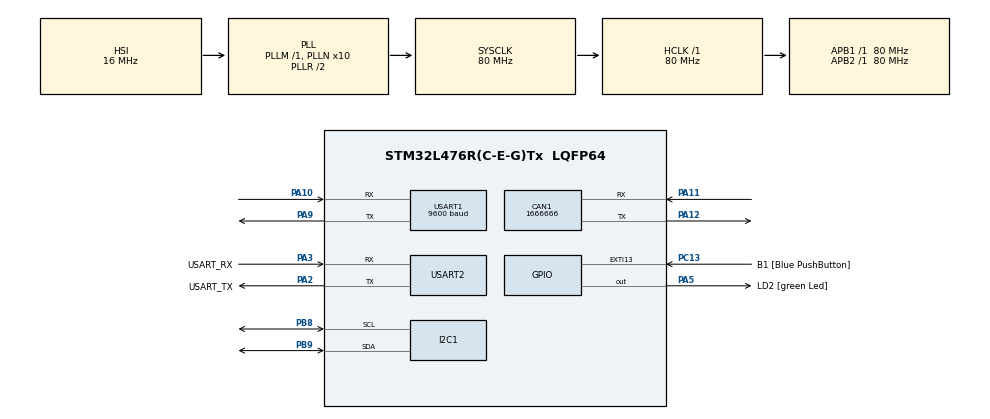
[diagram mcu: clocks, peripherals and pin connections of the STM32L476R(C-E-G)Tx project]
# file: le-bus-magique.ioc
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CAN1.BS1=CAN_BS1_1TQ
CAN1.BS2=CAN_BS2_1TQ
CAN1.CalculateBaudRate=1666666
CAN1.CalculateTimeBit=600.00
CAN1.CalculateTimeQuantum=200.0
I2C1.Timing=0x10909CEC
Mcu.Family=STM32L4
Mcu.Name=STM32L476R(C-E-G)Tx
Mcu.Package=LQFP64
NVIC.PriorityGroup=NVIC_PRIORITYGROUP_4
PA10.Mode=Asynchronous
PA10.Signal=USART1_RX
PA11.Mode=CAN_Activate
PA11.Signal=CAN1_RX
PA12.Mode=CAN_Activate
PA12.Signal=CAN1_TX
PA13\ (JTMS-SWDIO).GPIO_Label=TMS
PA13\ (JTMS-SWDIO).Mode=Serial_Wire
PA13\ (JTMS-SWDIO).Signal=SYS_JTMS-SWDIO
PA14\ (JTCK-SWCLK).GPIO_Label=TCK
PA14\ (JTCK-SWCLK).Mode=Serial_Wire
PA14\ (JTCK-SWCLK).Signal=SYS_JTCK-SWCLK
PA2.GPIO_Label=USART_TX
PA2.GPIO_Mode=GPIO_MODE_AF_PP
PA2.GPIO_PuPd=GPIO_NOPULL
PA2.GPIO_Speed=GPIO_SPEED_FREQ_VERY_HIGH
PA2.Mode=Asynchronous
PA2.Signal=USART2_TX
PA3.GPIO_Label=USART_RX
PA3.GPIO_Mode=GPIO_MODE_AF_PP
PA3.GPIO_PuPd=GPIO_NOPULL
PA3.GPIO_Speed=GPIO_SPEED_FREQ_VERY_HIGH
PA3.Mode=Asynchronous
PA3.Signal=USART2_RX
PA5.GPIO_Label=LD2 [green Led]
PA5.GPIO_ModeDefaultOutputPP=GPIO_MODE_OUTPUT_PP
PA5.GPIO_PuPd=GPIO_NOPULL
PA5.GPIO_Speed=GPIO_SPEED_FREQ_LOW
PA5.Signal=GPIO_Output
PA9.Mode=Asynchronous
PA9.Signal=USART1_TX
PB3\ (JTDO-TRACESWO).GPIO_Label=SWO
PB3\ (JTDO-TRACESWO).Signal=SYS_JTDO-SWO
PB8.Mode=I2C
PB8.Signal=I2C1_SCL
PB9.Mode=I2C
PB9.Signal=I2C1_SDA
PC13.GPIO_Label=B1 [Blue PushButton]
PC13.GPIO_ModeDefaultEXTI=GPIO_MODE_IT_FALLING
PC13.GPIO_PuPd=GPIO_NOPULL
PC13.Signal=GPXTI13
PC14-OSC32_IN\ (PC14).Mode=LSE-External-Oscillator
PC14-OSC32_IN\ (PC14).Signal=RCC_OSC32_IN
PC15-OSC32_OUT\ (PC15).Mode=LSE-External-Oscillator
PC15-OSC32_OUT\ (PC15).Signal=RCC_OSC32_OUT
PC4.Signal=USART3_TX
PH0-OSC_IN\ (PH0).Signal=RCC_OSC_IN
PH1-OSC_OUT\ (PH1).Signal=RCC_OSC_OUT
ProjectManager.HeapSize=0x200
ProjectManager.StackSize=0x400
ProjectManager.TargetToolchain=STM32CubeIDE
RCC.ADCFreq_Value=64000000
RCC.AHBFreq_Value=80000000
RCC.APB1Freq_Value=80000000
RCC.APB1TimFreq_Value=80000000
RCC.APB2Freq_Value=80000000
RCC.APB2TimFreq_Value=80000000
RCC.CortexFreq_Value=80000000
RCC.HCLKFreq_Value=80000000
RCC.HSE_VALUE=8000000
RCC.HSI_VALUE=16000000
RCC.MSI_VALUE=4000000
RCC.PLLN=10
RCC.PLLSourceVirtual=RCC_PLLSOURCE_HSI
RCC.PREFETCH_ENABLE=1
RCC.SYSCLKFreq_VALUE=80000000
RCC.SYSCLKSource=RCC_SYSCLKSOURCE_PLLCLK
RCC.USBFreq_Value=64000000
RCC.VCOOutputFreq_Value=160000000
USART1.BaudRate=9600
USART1.VirtualMode-Asynchronous=VM_ASYNC
USART2.VirtualMode-Asynchronous=VM_ASYNC
board=NUCLEO-L476RG

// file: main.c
/* USER CODE BEGIN Header */
/**
  ******************************************************************************
  * @file           : main.c
  * @brief          : Main program body
  ******************************************************************************
  * @attention
  *
  * <h2><center>&copy; Copyright (c) 2021 STMicroelectronics.
  * All rights reserved.</center></h2>
  *
  * This software component is licensed by ST under BSD 3-Clause license,
  * the "License"; You may not use this file except in compliance with the
  * License. You may obtain a copy of the License at:
  *                        opensource.org/licenses/BSD-3-Clause
  *
  ******************************************************************************
  */
/* USER CODE END Header */
#include "main.h"

CAN_HandleTypeDef hcan1;

I2C_HandleTypeDef hi2c1;

UART_HandleTypeDef huart1;
UART_HandleTypeDef huart2;

/* USER CODE BEGIN PV */
bmp280_trimming_TypeDef trim_struct; /* Initialise plus bas dans le code pas de de souci !*/

/* USER CODE END PV */

void SystemClock_Config(void);
static void MX_GPIO_Init(void);
static void MX_USART2_UART_Init(void);
static void MX_CAN1_Init(void);
static void MX_I2C1_Init(void);
static void MX_USART1_UART_Init(void);

int main(void)
{

  /* MCU Configuration--------------------------------------------------------*/

  /* Reset of all peripherals, Initializes the Flash interface and the Systick. */
  HAL_Init();

  /* Configure the system clock */
  SystemClock_Config();

  /* Initialize all configured peripherals */
  MX_GPIO_Init();
  MX_USART2_UART_Init();
  MX_CAN1_Init();
  MX_I2C1_Init();
  MX_USART1_UART_Init();
  /* USER CODE BEGIN 2 */
  printf("psst Axel\r\n");
  uint8_t i2c_buf[I2C_BUF_SIZE];

  /* USER CODE END 2 */

  /* Infinite loop */
  /* USER CODE BEGIN WHILE */
  i2c_buf[0] = BMP280_ID;
  HAL_I2C_Master_Transmit(&hi2c1, HAL_BMP280_ADDR << 1, i2c_buf, 1, HAL_MAX_DELAY);
  HAL_I2C_Master_Receive(&hi2c1, HAL_BMP280_ADDR << 1, i2c_buf, 1, HAL_MAX_DELAY);
  printf("ID du capteur de TEMPERATURE : 0x%x\r\n", (int) i2c_buf[0]);

  i2c_buf[0] = BMP280_CTRL_MEAS;
  i2c_buf[1] = 0x57;
  HAL_I2C_Master_Transmit(&hi2c1, HAL_BMP280_ADDR, i2c_buf, 2, HAL_MAX_DELAY);
  HAL_I2C_Master_Receive(&hi2c1, HAL_BMP280_ADDR, i2c_buf, 1, HAL_MAX_DELAY);

  printf("Valeur du registre ecrit : 0x%x\r\n", (int) i2c_buf[0]);
  HAL_I2C_Master_Transmit(
		  &hi2c1,
		  HAL_BMP280_ADDR,
		  BMP280_TRIM,
		  1,
		  HAL_MAX_DELAY);
  HAL_I2C_Master_Receive(&hi2c1, HAL_BMP280_ADDR, (uint8_t*) &trim_struct, sizeof(bmp280_trimming_TypeDef), HAL_MAX_DELAY);

  BMP280_S32_t bmp280_temp;
  uint8_t temp_tab[3];
  BMP280_S32_t bmp280_pres;
  uint8_t pres_tab[3];

  int32_t temperature=0;

  i2c_buf[0] = 0xF7;
  HAL_I2C_Master_Transmit(&hi2c1, HAL_BMP280_ADDR, i2c_buf, 1, HAL_MAX_DELAY);
  HAL_I2C_Master_Receive(&hi2c1, HAL_BMP280_ADDR, temp_tab, 3, HAL_MAX_DELAY);
  bmp280_temp = (BMP280_S32_t) (((int)temp_tab[0] << 12) + ((int)temp_tab[1] << 4) + ((int)temp_tab[2] >> 4));
  temperature = (int32_t) bmp280_compensate_T_int32(bmp280_temp);
  printf("valeur bmp280 temperature : %d\r\n", (int) temperature);

  uint8_t cmd_char = 0;
  uint8_t cmd[16] = {0};
  uint8_t cmd_cnt = 0;
  const char get_t[16]= "get-t";

  while (1)
  {
	cmd_cnt=0;
	do
	{
		HAL_UART_Receive(&huart1, &cmd_char, 1, HAL_MAX_DELAY);
		cmd[cmd_cnt] = cmd_char;
		++cmd_cnt;

	} while(cmd_char != 0xD);
	cmd[cmd_cnt-1] = '\0';

	if(0 == strcmp(cmd, get_t))
	{
		printf("Temperature : %d\r\n",temperature);
	}

    /* USER CODE END WHILE */

  }
}

void SystemClock_Config(void)
{
  RCC_OscInitTypeDef RCC_OscInitStruct = {0};
  RCC_ClkInitTypeDef RCC_ClkInitStruct = {0};

  /** Configure the main internal regulator output voltage
  */
  if (HAL_PWREx_ControlVoltageScaling(PWR_REGULATOR_VOLTAGE_SCALE1) != HAL_OK)
  {
    Error_Handler();
  }
  /** Initializes the RCC Oscillators according to the specified parameters
  * in the RCC_OscInitTypeDef structure.
  */
  RCC_OscInitStruct.OscillatorType = RCC_OSCILLATORTYPE_HSI;
  RCC_OscInitStruct.HSIState = RCC_HSI_ON;
  RCC_OscInitStruct.HSICalibrationValue = RCC_HSICALIBRATION_DEFAULT;
  RCC_OscInitStruct.PLL.PLLState = RCC_PLL_ON;
  RCC_OscInitStruct.PLL.PLLSource = RCC_PLLSOURCE_HSI;
  RCC_OscInitStruct.PLL.PLLM = 1;
  RCC_OscInitStruct.PLL.PLLN = 10;
  RCC_OscInitStruct.PLL.PLLP = RCC_PLLP_DIV7;
  RCC_OscInitStruct.PLL.PLLQ = RCC_PLLQ_DIV2;
  RCC_OscInitStruct.PLL.PLLR = RCC_PLLR_DIV2;
  if (HAL_RCC_OscConfig(&RCC_OscInitStruct) != HAL_OK)
  {
    Error_Handler();
  }
  /** Initializes the CPU, AHB and APB buses clocks
  */
  RCC_ClkInitStruct.ClockType = RCC_CLOCKTYPE_HCLK|RCC_CLOCKTYPE_SYSCLK
                              |RCC_CLOCKTYPE_PCLK1|RCC_CLOCKTYPE_PCLK2;
  RCC_ClkInitStruct.SYSCLKSource = RCC_SYSCLKSOURCE_PLLCLK;
  RCC_ClkInitStruct.AHBCLKDivider = RCC_SYSCLK_DIV1;
  RCC_ClkInitStruct.APB1CLKDivider = RCC_HCLK_DIV1;
  RCC_ClkInitStruct.APB2CLKDivider = RCC_HCLK_DIV1;

  if (HAL_RCC_ClockConfig(&RCC_ClkInitStruct, FLASH_LATENCY_4) != HAL_OK)
  {
    Error_Handler();
  }
}

static void MX_CAN1_Init(void)
{

  hcan1.Instance = CAN1;
  hcan1.Init.Prescaler = 16;
  hcan1.Init.Mode = CAN_MODE_NORMAL;
  hcan1.Init.SyncJumpWidth = CAN_SJW_1TQ;
  hcan1.Init.TimeSeg1 = CAN_BS1_1TQ;
  hcan1.Init.TimeSeg2 = CAN_BS2_1TQ;
  hcan1.Init.TimeTriggeredMode = DISABLE;
  hcan1.Init.AutoBusOff = DISABLE;
  hcan1.Init.AutoWakeUp = DISABLE;
  hcan1.Init.AutoRetransmission = DISABLE;
  hcan1.Init.ReceiveFifoLocked = DISABLE;
  hcan1.Init.TransmitFifoPriority = DISABLE;
  if (HAL_CAN_Init(&hcan1) != HAL_OK)
  {
    Error_Handler();
  }

}

static void MX_I2C1_Init(void)
{

  hi2c1.Instance = I2C1;
  hi2c1.Init.Timing = 0x10909CEC;
  hi2c1.Init.OwnAddress1 = 0;
  hi2c1.Init.AddressingMode = I2C_ADDRESSINGMODE_7BIT;
  hi2c1.Init.DualAddressMode = I2C_DUALADDRESS_DISABLE;
  hi2c1.Init.OwnAddress2 = 0;
  hi2c1.Init.OwnAddress2Masks = I2C_OA2_NOMASK;
  hi2c1.Init.GeneralCallMode = I2C_GENERALCALL_DISABLE;
  hi2c1.Init.NoStretchMode = I2C_NOSTRETCH_DISABLE;
  if (HAL_I2C_Init(&hi2c1) != HAL_OK)
  {
    Error_Handler();
  }
  /** Configure Analogue filter
  */
  if (HAL_I2CEx_ConfigAnalogFilter(&hi2c1, I2C_ANALOGFILTER_ENABLE) != HAL_OK)
  {
    Error_Handler();
  }
  /** Configure Digital filter
  */
  if (HAL_I2CEx_ConfigDigitalFilter(&hi2c1, 0) != HAL_OK)
  {
    Error_Handler();
  }

}

static void MX_USART1_UART_Init(void)
{

  huart1.Instance = USART1;
  huart1.Init.BaudRate = 9600;
  huart1.Init.WordLength = UART_WORDLENGTH_8B;
  huart1.Init.StopBits = UART_STOPBITS_1;
  huart1.Init.Parity = UART_PARITY_NONE;
  huart1.Init.Mode = UART_MODE_TX_RX;
  huart1.Init.HwFlowCtl = UART_HWCONTROL_NONE;
  huart1.Init.OverSampling = UART_OVERSAMPLING_16;
  huart1.Init.OneBitSampling = UART_ONE_BIT_SAMPLE_DISABLE;
  huart1.AdvancedInit.AdvFeatureInit = UART_ADVFEATURE_NO_INIT;
  if (HAL_UART_Init(&huart1) != HAL_OK)
  {
    Error_Handler();
  }

}

static void MX_USART2_UART_Init(void)
{

  huart2.Instance = USART2;
  huart2.Init.BaudRate = 115200;
  huart2.Init.WordLength = UART_WORDLENGTH_8B;
  huart2.Init.StopBits = UART_STOPBITS_1;
  huart2.Init.Parity = UART_PARITY_NONE;
  huart2.Init.Mode = UART_MODE_TX_RX;
  huart2.Init.HwFlowCtl = UART_HWCONTROL_NONE;
  huart2.Init.OverSampling = UART_OVERSAMPLING_16;
  huart2.Init.OneBitSampling = UART_ONE_BIT_SAMPLE_DISABLE;
  huart2.AdvancedInit.AdvFeatureInit = UART_ADVFEATURE_NO_INIT;
  if (HAL_UART_Init(&huart2) != HAL_OK)
  {
    Error_Handler();
  }

}

static void MX_GPIO_Init(void)
{
  GPIO_InitTypeDef GPIO_InitStruct = {0};

  /* GPIO Ports Clock Enable */
  __HAL_RCC_GPIOC_CLK_ENABLE();
  __HAL_RCC_GPIOH_CLK_ENABLE();
  __HAL_RCC_GPIOA_CLK_ENABLE();
  __HAL_RCC_GPIOB_CLK_ENABLE();

  /*Configure GPIO pin Output Level */
  HAL_GPIO_WritePin(LD2_GPIO_Port, LD2_Pin, GPIO_PIN_RESET);

  /*Configure GPIO pin : B1_Pin */
  GPIO_InitStruct.Pin = B1_Pin;
  GPIO_InitStruct.Mode = GPIO_MODE_IT_FALLING;
  GPIO_InitStruct.Pull = GPIO_NOPULL;
  HAL_GPIO_Init(B1_GPIO_Port, &GPIO_InitStruct);

  /*Configure GPIO pin : LD2_Pin */
  GPIO_InitStruct.Pin = LD2_Pin;
  GPIO_InitStruct.Mode = GPIO_MODE_OUTPUT_PP;
  GPIO_InitStruct.Pull = GPIO_NOPULL;
  GPIO_InitStruct.Speed = GPIO_SPEED_FREQ_LOW;
  HAL_GPIO_Init(LD2_GPIO_Port, &GPIO_InitStruct);

  /*Configure GPIO pin : PC4 */
  GPIO_InitStruct.Pin = GPIO_PIN_4;
  GPIO_InitStruct.Mode = GPIO_MODE_AF_PP;
  GPIO_InitStruct.Pull = GPIO_NOPULL;
  GPIO_InitStruct.Speed = GPIO_SPEED_FREQ_VERY_HIGH;
  GPIO_InitStruct.Alternate = GPIO_AF7_USART3;
  HAL_GPIO_Init(GPIOC, &GPIO_InitStruct);

}

void Error_Handler(void)
{
  __disable_irq();
  while (1)
  {
  }
}

/************************ (C) COPYRIGHT STMicroelectronics *****END OF FILE****/
